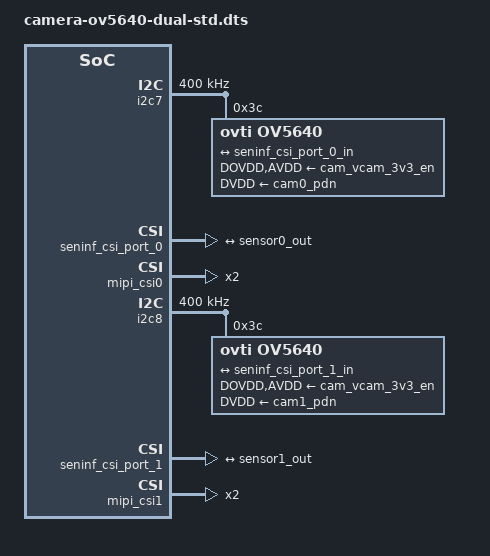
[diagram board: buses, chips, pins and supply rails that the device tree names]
// SPDX-License-Identifier: GPL-2.0
/*
 * Copyright (c) 2025 MediaTek Inc.
 *
 */

/dts-v1/;
/plugin/;

#include <dt-bindings/clock/mediatek,mt8189-clk.h>
#include "camera-common-std.dtsi"

/ {
	fragment@3 {
		target = <&i2c7>;
		__overlay__ {
			clock-frequency = <400000>;

			ov5640@3c {
				compatible = "ovti,ov5640";

				reg = <0x3c>;

				pinctrl-names = "default";
				pinctrl-0 = <&cam0_default_pins_pwr_en &cam0_default_pins_mclk>;

				clocks = <&vlp_cksys_clk CLK_VLP_CK_CAMTG0_SEL>;
				clock-names = "xclk";
				assigned-clocks = <&vlp_cksys_clk CLK_VLP_CK_CAMTG0_SEL>;
				assigned-clock-parents = <&topckgen_clk CLK_TOP_UNIVPLL_192M_D8>;

				DOVDD-supply = <&cam_vcam_3v3_en>;
				AVDD-supply = <&cam_vcam_3v3_en>;
				DVDD-supply = <&cam0_pdn>;

				port {
					sensor0_out: endpoint {
						remote-endpoint = <&seninf_csi_port_0_in>;
						data-lanes = <1 2>;
					};
				};
			};
		};
	};

	fragment@4 {
		target = <&seninf_csi_port_0>;
		__overlay__ {
			status = "okay";
			ports {
				port@0 {
					seninf_csi_port_0_in: endpoint {
						data-lanes = <1 2>;
						remote-endpoint = <&sensor0_out>;
					};
				};
			};
		};
	};

	fragment@5 {
		target = <&mipi_csi0>;
		__overlay__ {
			status = "okay";
			num-lanes = <2>;
		};
	};

	fragment@6 {
		target = <&i2c8>;
		__overlay__ {
			clock-frequency = <400000>;

			ov5640@3c {
				compatible = "ovti,ov5640";

				reg = <0x3c>;

				pinctrl-names = "default";
				pinctrl-0 = <&cam1_default_pins_pwr_en &cam1_default_pins_mclk>;

				clocks = <&vlp_cksys_clk CLK_VLP_CK_CAMTG1_SEL>;
				clock-names = "xclk";
				assigned-clocks = <&vlp_cksys_clk CLK_VLP_CK_CAMTG1_SEL>;
				assigned-clock-parents = <&topckgen_clk CLK_TOP_UNIVPLL_192M_D8>;

				DOVDD-supply = <&cam_vcam_3v3_en>;
				AVDD-supply = <&cam_vcam_3v3_en>;
				DVDD-supply = <&cam1_pdn>;

				port {
					sensor1_out: endpoint {
						remote-endpoint = <&seninf_csi_port_1_in>;
						data-lanes = <1 2>;
					};
				};
			};
		};
	};

	fragment@7 {
		target = <&seninf_csi_port_1>;
		__overlay__ {
			status = "okay";
			ports {
				port@0 {
					seninf_csi_port_1_in: endpoint {
						data-lanes = <1 2>;
						remote-endpoint = <&sensor1_out>;
					};
				};
			};
		};
	};

	fragment@8 {
		target = <&mipi_csi1>;
		__overlay__ {
			status = "okay";
			num-lanes = <2>;
		};
	};
};
